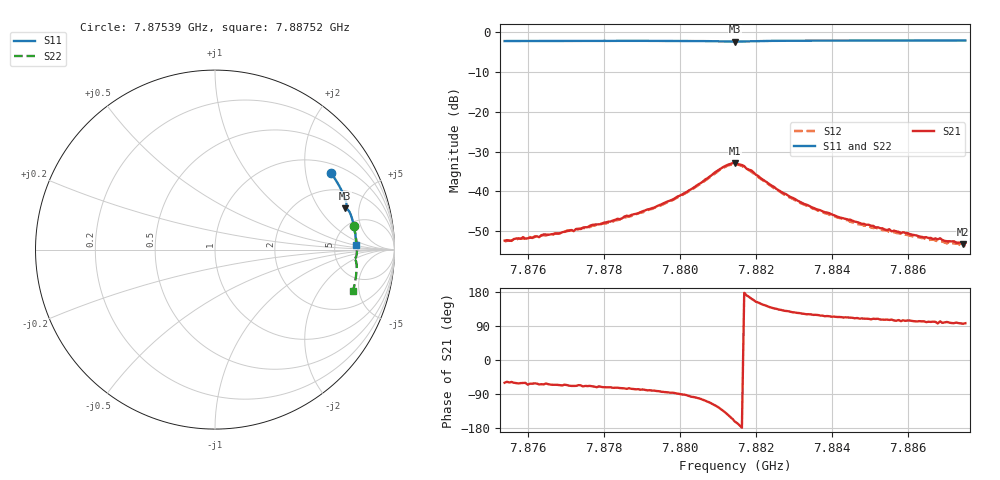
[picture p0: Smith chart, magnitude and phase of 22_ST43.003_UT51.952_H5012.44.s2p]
#  HZ  S  DB  R  50.00
! Rohde & Schwarz Vector Network Analyzer
! Rohde-Schwarz,ZNB20-2Port,1311601062101988,3.16
! Created: UTC 1/12/2023, 6:30:43 PM
! freq[Hz]  db:S11  ang:S11  db:S21  ang:S21  db:S12  ang:S12  db:S22  ang:S22
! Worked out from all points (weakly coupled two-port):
!   201 points, 7.87539 GHz to 7.88752 GHz, reference 50 ohm
!   highest |S21| = -32.87 dB at 7.88146 GHz (marker M1); lowest = -53.2 dB at 7.88746 GHz (marker M2)
!   lowest |S11| = -2.4 dB at 7.88146 GHz (marker M3), VSWR 7.39, Z = 164 + j180 ohm
!   |S11| at or under -10 dB: nowhere
!   |S22| runs from -2.2 to -1.9 dB; largest |S21 - S12| = 0.002
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7.87539e9  -2.22 33.5  -52.38 -60.0  -52.59 -62.9  -2.12 9.6
7.875572e9  -2.22 33.0  -52.46 -58.0  -52.32 -65.4  -2.12 9.2
7.875875e9  -2.21 32.1  -51.50 -60.7  -51.90 -64.6  -2.11 8.5
7.8763e9  -2.21 31.0  -51.52 -64.6  -51.38 -67.8  -2.10 7.5
7.876421e9  -2.20 30.7  -50.84 -64.3  -51.03 -66.6  -2.09 7.3
7.87721e9  -2.19 28.5  -50.00 -68.4  -49.75 -70.7  -2.07 5.4
7.877452e9  -2.19 27.9  -49.11 -69.7  -49.23 -72.4  -2.06 4.8
7.878423e9  -2.17 25.2  -47.00 -74.0  -47.08 -77.2  -2.05 2.6
7.879454e9  -2.17 22.3  -43.50 -82.3  -43.69 -85.5  -2.04 0.1
7.880182e9  -2.18 20.2  -40.15 -92.9  -40.34 -96.7  -2.05 -1.6
7.881152e9  -2.32 17.7  -33.86 -134.7  -34.07 -138.1  -2.18 -3.9
7.881456e9  -2.36 17.6  -32.87 -162.9  -33.19 -165.6  -2.24 -3.9
7.88188e9  -2.28 17.2  -34.70 162.3  -35.05 158.9  -2.14 -4.0
7.882729e9  -2.16 14.8  -40.45 130.5  -40.68 127.3  -2.01 -6.0
7.883518e9  -2.12 12.6  -44.14 119.1  -44.39 116.4  -1.97 -7.9
7.884792e9  -2.10 9.1  -48.16 109.7  -48.33 106.3  -1.94 -10.8
7.885519e9  -2.09 7.2  -49.53 105.7  -50.22 103.1  -1.93 -12.4
7.88558e9  -2.09 7.1  -50.06 106.6  -50.32 102.7  -1.93 -12.5
7.886672e9  -2.08 4.2  -51.99 101.1  -52.13 98.5  -1.91 -14.9
7.886854e9  -2.08 3.7  -51.80 102.1  -52.63 95.8  -1.92 -15.3
7.88746e9  -2.07 2.1  -53.23 95.7  -53.62 92.5  -1.92 -16.6
7.887521e9  -2.07 2.0  -52.94 97.1  -53.78 92.5  -1.91 -16.7
